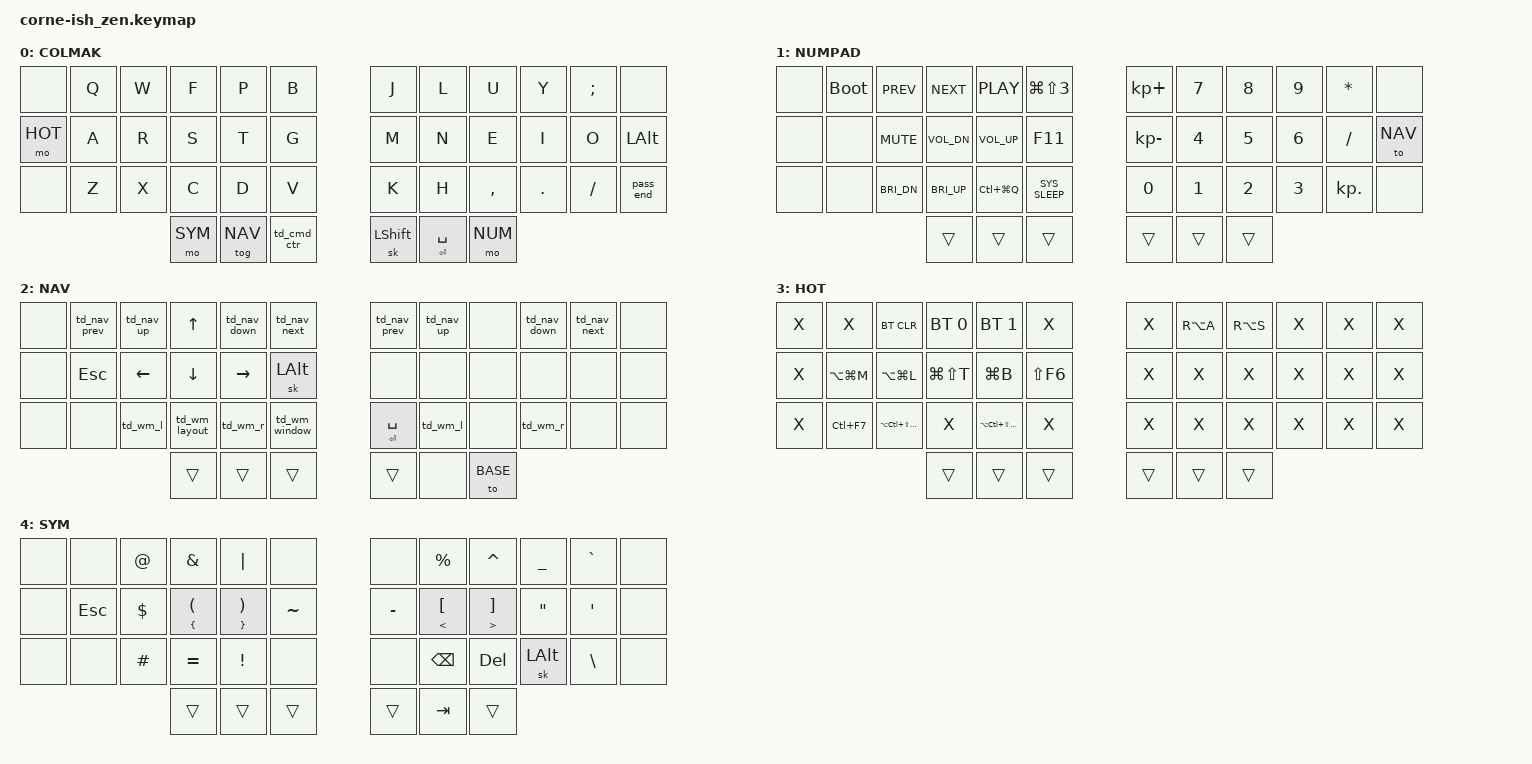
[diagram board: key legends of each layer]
/*
*
* Copyright (c) 2021 lowprokb.ca
* SPDX-License-Identifier: MIT
*
*/

#include <behaviors.dtsi>
#include <dt-bindings/zmk/keys.h>
#include <dt-bindings/zmk/bt.h>

#define BASE 0
#define NUM 1
#define NAV 2
#define HOT 3
#define SYM 4

#define QWERTY 0
#define GAMING 1
#define NUMPAD 2
#define NUMROW 3
#define ADJUST 4
#define CONFIG 5

#define IDEA_LEFT LA(LC(LS(LG(LEFT))))
#define IDEA_RIGHT LA(LC(LS(LG(RIGHT))))
#define IDEA_TEST LG(LS(T))
#define IDEA_FORMAT LA(LG(L))
#define IDEA_DEF LG(B)     
#define IDEA_EXTRACT LA(LG(M))
#define IDEA_RENAME LS(F6)

/ {
	behaviours {
		td0: tap_dance_0 {
		    compatible = "zmk,behavior-tap-dance";
		    label = "TAP_DANCE_0";
		    #binding-cells = <0>;
		    tapping-term-ms = <200>;
		    bindings = <&kp N1>, <&kp N2>, <&kp N3>;
		};
		td_cmd_ctr: tap_dance_1 {
		    compatible = "zmk,behavior-tap-dance";
		    label = "TAP_DANCE_1";
		    #binding-cells = <0>;
		    tapping-term-ms = <200>;
		    bindings = <&kp LGUI>, <&kp LCTRL>;
		};
		td_nav_up: tap_dance_2 {
		    compatible = "zmk,behavior-tap-dance";
		    label = "TAP_DANCE_2";
		    #binding-cells = <0>;
		    tapping-term-ms = <200>;
		    bindings = <&mt PG_UP K_SCROLL_DOWN>, <&kp HOME>;
		};
		td_nav_down: tap_dance_3 {
		    compatible = "zmk,behavior-tap-dance";
		    label = "TAP_DANCE_3";
		    #binding-cells = <0>;
		    tapping-term-ms = <200>;
		    bindings = <&mt PAGE_DOWN K_SCROLL_UP>, <&kp END>;
		};
		td_nav_next: tap_dance_4 {
		    compatible = "zmk,behavior-tap-dance";
		    label = "TAP_DANCE_4";
		    #binding-cells = <0>;
		    tapping-term-ms = <200>;
		    bindings = <&mt LG(T) LC(TAB)>, <&mt LG(N) LG(RBKT)>;
		};
		td_nav_prev: tap_dance_5 {
		    compatible = "zmk,behavior-tap-dance";
		    label = "TAP_DANCE_5";
		    #binding-cells = <0>;
		    tapping-term-ms = <200>;
		    bindings = <&mt LG(W) LC(LS(TAB))>, <&mt LG(LS(T)) LG(LBKT)>;
		};
		td_wm_r: tap_dance_6 {
		    compatible = "zmk,behavior-tap-dance";
		    label = "TAP_DANCE_6";
		    #binding-cells = <0>;
		    tapping-term-ms = <200>;
		    bindings = <&mt LC(RIGHT) LA(LS(K))>, <&mt LA(LC(LS(RIGHT))) LA(LS(D))>;
		};
		td_wm_l: tap_dance_7 {
		    compatible = "zmk,behavior-tap-dance";
		    label = "TAP_DANCE_7";
		    #binding-cells = <0>;
		    tapping-term-ms = <200>;
		    bindings = <&mt LC(LEFT) LA(LS(J))>, <&mt LA(LC(LS(LEFT))) LA(LS(A))>;
		};
		td_wm_layout: tap_dance_8 {
		    compatible = "zmk,behavior-tap-dance";
		    label = "TAP_DANCE_8";
		    #binding-cells = <0>;
		    tapping-term-ms = <200>;
		    bindings = <&kp LA(LS(D))>, <&kp LA(LS(A))>;
		};
		td_wm_window: tap_dance_9 {
		    compatible = "zmk,behavior-tap-dance";
		    label = "TAP_DANCE_9";
		    #binding-cells = <0>;
		    tapping-term-ms = <200>;
		    bindings = <&mt LA(LS(RET)) LA(LS(K))>, <&mt LA(LS(T)) LC(N1)>;
		};
		htt: hold_tap {
		    compatible = "zmk,behavior-hold-tap";
		    label = "HOLD_TAP";
		    #binding-cells = <2>;
		    tapping-term-ms = <150>;
		    quick-tap-ms = <0>;
		    flavor = "tap-preferred";
		    bindings = <&kp>, <&kp>;
		};
	
	};
	macros {
		ZMK_MACRO(pass_end,
			wait-ms = <30>;
			tap-ms = <40>;
			bindings = <&kp N2 &kp N2 &kp MINUS &kp N1 &kp N2 &kp ENTER>;
		)
	};
        keymap {
                compatible = "zmk,keymap";

                default_layer {
                        label = "COLMAK";
                        bindings = <
                                                &none   &kp Q &kp W &kp F   &kp P    &kp B                  &kp J     &kp L           &kp U     &kp Y   &kp SEMI &none
                                                &mo HOT &kp A &kp R &kp S   &kp T    &kp G                  &kp M     &kp N           &kp E     &kp I   &kp O    &kp LALT
                                                &none   &kp Z &kp X &kp C   &kp D    &kp V                  &kp K     &kp H           &kp COMMA &kp DOT &kp FSLH &pass_end
                                                                    &mo SYM &tog NAV &td_cmd_ctr            &sk LSHFT &htt RET SPACE  &mo NUM
                        >;
                };

                numpad_layer {
                        label = "NUMPAD";
                        bindings = <
                           &none &bootloader &kp C_PREV   &kp C_NEXT   &kp C_PLAY    &kp LG(LS(N3))         &kp KP_PLUS  &kp N7 &kp N8 &kp N9 &kp STAR   &none
                           &none &none       &kp C_MUTE   &kp C_VOL_DN &kp C_VOL_UP  &kp F11                &kp KP_MINUS &kp N4 &kp N5 &kp N6 &kp FSLH   &to NAV
                           &none &none       &kp C_BRI_DN &kp C_BRI_UP &kp LC(LG(Q)) &kp SYS_SLEEP          &kp N0       &kp N1 &kp N2 &kp N3 &kp KP_DOT &none
                                                          &trans       &trans        &trans                 &trans       &trans &trans
                        >;
                };

                navigation_layer {
                        label = "NAV";
                        bindings = <
                            &none &td_nav_prev &td_nav_up &kp UP        &td_nav_down &td_nav_next           &td_nav_prev  &td_nav_up &none &td_nav_down &td_nav_next &none
                            &none &kp ESC      &kp LEFT   &kp DOWN      &kp RIGHT    &sk LALT               &none         &none      &none &none        &none        &none
                            &none &none        &td_wm_l   &td_wm_layout &td_wm_r     &td_wm_window          &mt RET SPACE &td_wm_l   &none &td_wm_r     &none        &none
                                                          &trans        &trans       &trans                 &trans        &none      &to BASE
                        >;
                };

		hotkey_layer {
			label = "HOT";
			bindings = <
&kp X &kp X            &bt BT_CLR      &bt BT_SEL 0  &bt BT_SEL 1   &kp X                       &kp X  &kp RA(A) &kp RA(S) &kp X &kp X &kp X
&kp X &kp IDEA_EXTRACT &kp IDEA_FORMAT &kp IDEA_TEST &kp IDEA_DEF   &kp IDEA_RENAME             &kp X  &kp X     &kp X     &kp X &kp X &kp X
&kp X &kp LC(F7)       &kp IDEA_LEFT   &kp X         &kp IDEA_RIGHT &kp X                       &kp X  &kp X     &kp X     &kp X &kp X &kp X
                                       &trans        &trans         &trans                      &trans &trans    &trans
			>;
		};

		symbol_layer {
			label = "SYM";
			bindings = <
             &none &none   &kp AT     &kp AMPS               &kp PIPE                &none                  &none     &kp PERCENT                &kp CARET                      &kp UNDERSCORE    &kp GRAVE        &none
             &none &kp ESC &kp DOLLAR &mt LEFT_BRACE LPAR    &mt RIGHT_BRACE RPAR    &kp TILDE              &kp MINUS &mt LESS_THAN LEFT_BRACKET &mt GREATER_THAN RIGHT_BRACKET &kp DOUBLE_QUOTES &kp SINGLE_QUOTE &none
             &none &none   &kp HASH   &kp EQUAL              &kp EXCL                &none                  &none     &kp BACKSPACE              &kp DEL                        &sk LALT          &kp BACKSLASH    &none
                                      &trans                 &trans                  &trans                 &trans    &kp TAB                    &trans
			>;
		};
        };
};
